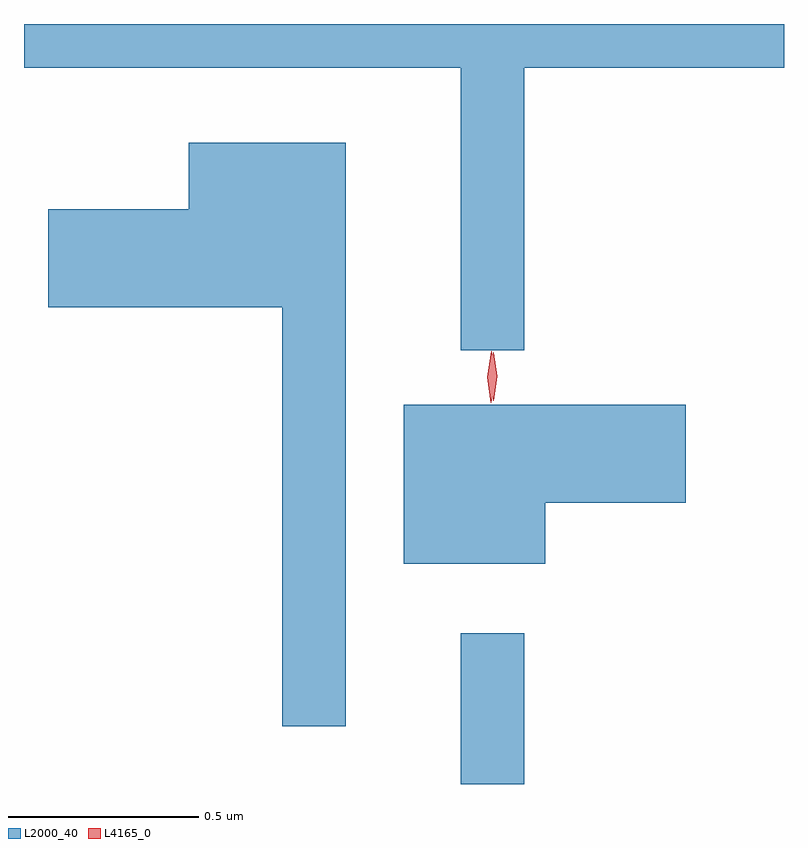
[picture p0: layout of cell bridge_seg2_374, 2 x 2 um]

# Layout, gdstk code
import gdstk
lib = gdstk.Library(unit=1e-6, precision=1e-09)
def R(c, l, rs):  # rectangles x0, y0, x1, y1
    for r in rs: c.add(gdstk.rectangle(r[:2], r[2:], *l))
def P(c, l, *ps):  # polygons
    for p in ps: c.add(gdstk.Polygon(p, *l))
L2000_40 = (2000, 40)
L4165_0 = (4165, 0)

bridge_seg2_374 = lib.new_cell('bridge_seg2_374')
R(bridge_seg2_374, L2000_40, [(352.911,984.271,353.079,984.668)])
P(bridge_seg2_374, L2000_40, [(353.079,986.156),(353.762,986.156),(353.762,986.271),(351.762,986.271),(351.762,986.156),(352.911,986.156),(352.911,985.413),(353.079,985.413)],
  [(352.609,985.959),(352.196,985.959),(352.196,985.784),(351.826,985.784),(351.826,985.526),(352.441,985.526),(352.441,984.423),(352.609,984.423)],
  [(353.134,985.011),(353.504,985.011),(353.504,985.269),(352.761,985.269),(352.761,984.851),(353.134,984.851)])
P(bridge_seg2_374, L4165_0, [(352.997,985.28),(352.997,985.28),(352.988,985.344),(352.997,985.406),(352.997,985.407),(352.998,985.406),(353.007,985.344),(352.998,985.28)],
  [(352.99,985.274),(352.99,985.274),(352.981,985.342),(352.992,985.41),(352.992,985.41),(352.993,985.41),(353.001,985.342),(352.991,985.274)])

lib.write_gds('bridge_seg2_374.gds')
